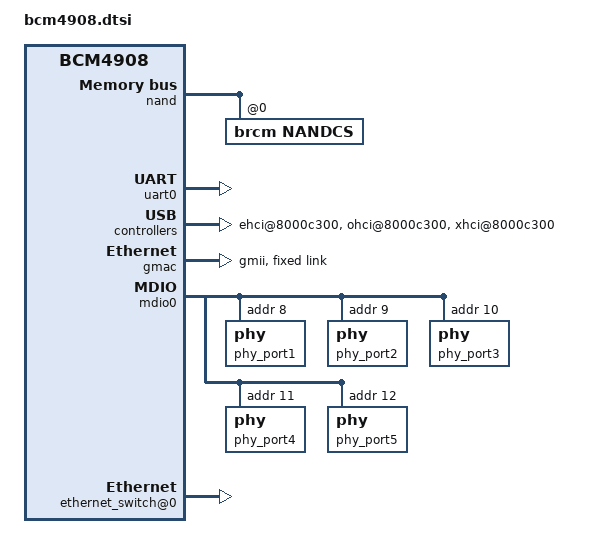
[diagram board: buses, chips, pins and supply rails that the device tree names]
#include <dt-bindings/gpio/gpio.h>
#include <dt-bindings/input/input.h>
#include <dt-bindings/interrupt-controller/arm-gic.h>
#include <dt-bindings/interrupt-controller/irq.h>

#define GIC_DIST_BASE	0x81001000
#define GIC_CPUI_BASE	0x81002000

#define TIMER_HYP_PPI			10
#define TIMER_VIRT_PPI			11
#define TIMER_PHYS_SECURE_PPI		13
#define TIMER_PHYS_NONSECURE_PPI	14

#define DMA_SPI				84
#define PMU_CORE0_SPI			9
#define PMU_CORE1_SPI			10
#define PMU_CORE2_SPI			11
#define PMU_CORE3_SPI			12
#define UART_SPI			32
#define NAND_SPI			37
#define SDIO_EMMC_SPI			85
#define SPU_GMAC_SPI			90

/dts-v1/;

/memreserve/ 0x00000000 0x00010000;

/ {
	interrupt-parent = <&gic>;
	#address-cells = <2>;
	#size-cells = <2>;

	cpus {
		#address-cells = <2>;
		#size-cells = <0>;

		B53_0: cpu@0 {
			device_type = "cpu";
			compatible = "arm,cortex-a53";
			reg = <0x0 0x0>;
			next-level-cache = <&L2_0>;
		};
		B53_1: cpu@1 {
			device_type = "cpu";
			compatible = "arm,cortex-a53";
			reg = <0x0 0x1>;
			enable-method = "spin-table";
			cpu-release-addr = <0x0 0xfff8>;
			next-level-cache = <&L2_0>;
		};
		B53_2: cpu@2 {
			device_type = "cpu";
			compatible = "arm,cortex-a53";
			reg = <0x0 0x2>;
			enable-method = "spin-table";
			cpu-release-addr = <0x0 0xfff8>;
			next-level-cache = <&L2_0>;
		};
		B53_3: cpu@3 {
			device_type = "cpu";
			compatible = "arm,cortex-a53";
			reg = <0x0 0x3>;
			enable-method = "spin-table";
			cpu-release-addr = <0x0 0xfff8>;
			next-level-cache = <&L2_0>;
		};

		L2_0: l2-cache0 {
			compatible = "cache";
		};
	};

	/* Legacy UBUS base */
	ubus@ff800000 {
		compatible = "simple-bus";
		#address-cells = <2>;
		#size-cells = <2>;
		ranges = <0x0 0x0 0x0 0xff800000 0x0 0x8000>;

		timer: timer@ff800400 {
			compatible = "brcm,bcm6328-timer", "syscon";
			reg = <0x0 0x400 0x0 0x3c>;
		};

		nand: nand@ff801800 {
			#address-cells = <1>;
			#size-cells = <0>;
			compatible = "brcm,nand-bcm63138", "brcm,brcmnand-v7.0", "brcm,brcmnand";
			reg = <0x0 0x1800 0x0 0x600>, <0x0 0x2000 0x0 0x10>;
			reg-names = "nand", "nand-int-base";
			interrupts = <GIC_SPI NAND_SPI IRQ_TYPE_LEVEL_HIGH>;
			interrupt-names = "nand";
			status = "okay";

			nandcs@0 {
				compatible = "brcm,nandcs";
				reg = <0>;
				nand-on-flash-bbt;
				#address-cells = <1>;
				#size-cells = <1>;
				nand-ecc-strength = <4>;
				nand-ecc-step-size = <1024>;
			};
		};

		watchdog@ff800428 {
			compatible = "brcm,bcm96xxx-wdt";
			reg = <0x0 0x428 0x0 0x10>;
			timeout-sec = <80>;
		};

		gpio0: gpio-controller@ff800500 {
			compatible = "brcm,bcm6345-gpio";
			reg-names = "dirout", "dat";
			reg = <0x0 0x500 0 8>, <0x0 0x528 0 8>;

			#gpio-cells = <2>;
			gpio-controller;
		};

		gpio1: gpio-controller@ff800508 {
			compatible = "brcm,bcm6345-gpio";
			reg-names = "dirout", "dat";
			reg = <0x0 0x508 0 8>, <0x0 0x530 0 8>;

			#gpio-cells = <2>;
			gpio-controller;
		};

		gpio2: gpio-controller@ff800510 {
			compatible = "brcm,bcm6345-gpio";
			reg-names = "dirout", "dat";
			reg = <0x0 0x510 0 8>, <0x0 0x538 0 8>;

			#gpio-cells = <2>;
			gpio-controller;
		};

		gpio3: gpio-controller@ff800518 {
			compatible = "brcm,bcm6345-gpio";
			reg-names = "dirout", "dat";
			reg = <0x0 0x518 0 8>, <0x0 0x540 0 8>;

			#gpio-cells = <2>;
			gpio-controller;
		};

		gpio4: gpio-controller@ff800520 {
			compatible = "brcm,bcm6345-gpio";
			reg-names = "dirout", "dat";
			reg = <0x0 0x520 0 8>, <0x0 0x548 0 8>;

			#gpio-cells = <2>;
			gpio-controller;
		};

		uart0: serial@ff800640 {
			compatible = "brcm,bcm6345-uart";
			reg = <0x0 0x640 0x0 0x18>;
			interrupt-parent = <&gic>;
			interrupts = <GIC_SPI UART_SPI IRQ_TYPE_LEVEL_HIGH>;
			clocks = <&periph_clk>;
		};

		reboot {
			compatible = "syscon-reboot";
			regmap = <&timer>;
			offset = <0x34>;
			mask = <1>;
		};
	};

	pdc0: spu-pdc@0x8001c000 {
		compatible = "brcm,pdc";
		reg = <0x00000000 0x8001c000 0x00000000 0x448>;
		interrupts = <GIC_SPI SPU_GMAC_SPI IRQ_TYPE_LEVEL_HIGH>;
	};
	
	therm0: brcm-therm {
		compatible = "brcm,therm";
	};

	gic: interrupt-controller@81000000 {
		compatible = "arm,cortex-a15-gic", "arm,cortex-a9-gic";
		#interrupt-cells = <3>;
		#address-cells = <0>;
		interrupt-controller;
		reg = <0x0 GIC_DIST_BASE 0 0x1000>,
		      <0x0 GIC_CPUI_BASE 0 0x2000>;
	};

	timer {
		compatible = "arm,armv8-timer";
		interrupts = <GIC_PPI TIMER_PHYS_SECURE_PPI    (GIC_CPU_MASK_SIMPLE(4) | IRQ_TYPE_LEVEL_LOW)>,
			     <GIC_PPI TIMER_PHYS_NONSECURE_PPI (GIC_CPU_MASK_SIMPLE(4) | IRQ_TYPE_LEVEL_LOW)>,
			     <GIC_PPI TIMER_VIRT_PPI           (GIC_CPU_MASK_SIMPLE(4) | IRQ_TYPE_LEVEL_LOW)>,
			     <GIC_PPI TIMER_HYP_PPI            (GIC_CPU_MASK_SIMPLE(4) | IRQ_TYPE_LEVEL_LOW)>;
	};

	pmu {
		compatible = "arm,armv8-pmuv3";
		interrupts = <GIC_SPI PMU_CORE0_SPI IRQ_TYPE_LEVEL_HIGH>,
			     <GIC_SPI PMU_CORE1_SPI IRQ_TYPE_LEVEL_HIGH>,
			     <GIC_SPI PMU_CORE2_SPI IRQ_TYPE_LEVEL_HIGH>,
			     <GIC_SPI PMU_CORE3_SPI IRQ_TYPE_LEVEL_HIGH>;
		interrupt-affinity = <&B53_0>,
				     <&B53_1>,
				     <&B53_2>,
				     <&B53_3>;
	};

	soc: soc {
		compatible = "simple-bus";
		#address-cells = <1>;
		#size-cells = <1>;
		ranges = <0 0 0 0xffffffff>;

		dma0: dma@ff859000 {
			compatible = "arm,pl081", "arm,primecell";
			reg = <0xff859000 0x1000>;
			arm,primecell-periphid = <0x00041081>;
			interrupts = <GIC_SPI DMA_SPI IRQ_TYPE_LEVEL_HIGH>;
			#dma-cells = <2>;
			clocks = <&periph_clk>;
			clock-names = "apb_pclk";
		};

		ehci@8000c300 {
			compatible = "generic-ehci";
			reg = <0x8000c300 0x100>;
			interrupts = <GIC_SPI 73 IRQ_TYPE_LEVEL_HIGH>;
		};

		ohci@8000c300 {
			compatible = "generic-ohci";
			reg = <0x8000c400 0x100>;
			interrupts = <GIC_SPI 72 IRQ_TYPE_LEVEL_HIGH>;
		};

		xhci@8000c300 {
			compatible = "generic-xhci";
			reg = <0x8000d000 0x900>;
			interrupts = <GIC_SPI 74 IRQ_TYPE_LEVEL_HIGH>;
		};

		gmac: ethernet@80002000 {
			compatible = "bcm,bcmenet-4908-clean";
			/* Fake prop */
			phy-mode = "gmii";

			fixed-link {
				speed = <1000>;
				full-duplex;
			};
		};

		switch_top@80080000 {
			compatible = "simple-bus";
			#size-cells = <1>;
			#address-cells = <1>;
			ranges = <0 0x80080000 0x50000>;

			mdio0: mdio@405c0 {
				compatible = "brcm,unimac-mdio";
				reg = <0x405c0 0x8>;
				reg-names = "mdio";
				#size-cells = <1>;
				#address-cells = <0>;

				/* #define BCM94908_PHY_BASE 0x8 */

				phy_port1: phy@0 {
					reg = <8>;
				};

				phy_port2: phy@1 {
					reg = <9>;
				};

				phy_port3: phy@2 {
					reg = <10>;
				};

				phy_port4: phy@3 {
					reg = <11>;
				};

				phy_port5: phy@4 {
					reg = <12>;
				};
			};

			ethernet_switch@0 {
				compatible = "brcm,bcm7278-switch-v4.0";
				#size-cells = <0>;
				#address-cells = <1>;
				reg = <0x0 0x40000
					0x40000 0x110
					0x40340 0x30
					0x40380 0x30
					0x40600 0x34
					0x40800 0x208>;
				reg-names = "core", "reg", "intrl2_0", "intrl2_1",
					"fcb", "acb";
				interrupts = <GIC_SPI 57 IRQ_TYPE_LEVEL_HIGH
					      GIC_SPI 58 IRQ_TYPE_LEVEL_HIGH>;
				brcm,num-gphy = <5>;
				brcm,num-rgmii-ports = <2>;
				brcm,fcb-pause-override;
				brcm,acb-packets-inflight;

				ports {
					#address-cells = <1>;
					#size-cells = <0>;

					port@0 {
						label = "lan4";
						reg = <0>;
						phy-handle = <&phy_port1>;
					};

					port@1 {
						label = "lan3";
						reg = <1>;
						phy-handle = <&phy_port2>;
					};

					port@2 {
						label = "lan2";
						reg = <2>;
						phy-handle = <&phy_port3>;
					};

					port@3 {
						label = "lan1";
						reg = <3>;
						phy-handle = <&phy_port4>;
					};

					port@4 {
						label = "wan";
						reg = <4>;
						phy-handle = <&phy_port5>;
					};

					port@1e {
						label = "cpu";
						reg = <0x1e>;

						ethernet = <&gmac>;
						phy-mode = "gmii";

						fixed-link {
							speed = <1000>;
							full-duplex;
						};
					};
				};
			};
		};
	};

	brcm-legacy {
		compatible = "brcm,brcm-legacy";
	};

	clocks {
		periph_clk: periph_clk@0 {
			compatible = "fixed-clock";
			#clock-cells = <0>;
			clock-frequency = <50000000>;
		};
	};
};



